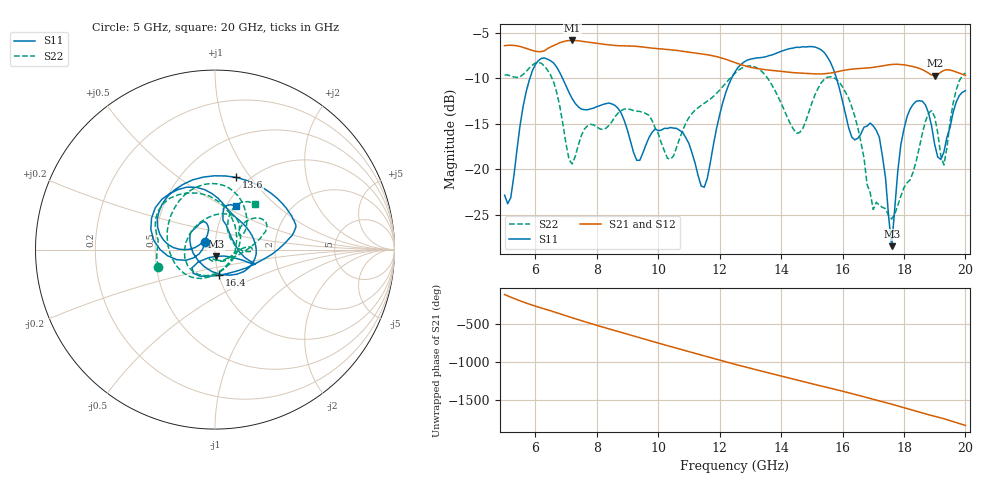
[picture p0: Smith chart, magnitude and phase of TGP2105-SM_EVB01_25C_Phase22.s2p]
! Date: Wednesday, June 05, 2013  1:50 PM
! Filename: C:\Data\Mike_Arnold\TGP2105-SM\Over_Temp\TGP2105-SM_EVB01_25C_Phase22.s2p
! Comments:
!^VDC(V):5.000
!^VDC(mA):0.102
!%Freq(GHz),S11(dB),S11(ang),S21(dB),S21(ang),S12(dB),S12(ang),S22(dB),S22(ang)
# GHz  S  DB  R  50
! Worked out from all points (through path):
!   151 points, 5 GHz to 20 GHz, reference 50 ohm
!   highest |S21| = -5.87 dB at 7.2 GHz (marker M1); lowest = -9.7 dB at 19 GHz (marker M2)
!   group delay of S21, straight-line fit = 307 ps
!   lowest |S11| = -28.4 dB at 17.6 GHz (marker M3), VSWR 1.08, Z = 50.5 - j3.79 ohm
!   |S11| at or under -10 dB: start of sweep to 5.825 GHz; 6.884 GHz to 12.39 GHz (5.506 GHz wide, 57.1 % of centre); 15.8 GHz to end of sweep
!   |S22| runs from -25.4 to -8.3 dB; largest |S21 - S12| = 0.0021
!   S11 on the Smith chart (normalised r, x): 5 GHz: 0.89, +0.08; 13.6 GHz: 0.88, +0.86; 16.4 GHz: 1.01, -0.29; 20 GHz: 1.10, +0.58
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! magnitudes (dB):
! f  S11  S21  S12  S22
! 5 GHz  -22.8  -6.4  -6.5  -9.6
! 6 GHz  -8.5  -7.0  -7.1  -8.3
! 7.2 GHz  -12.2  -5.9  -5.9  -19.4
! 7.5 GHz  -13.4  -5.9  -6.0  -16.3
! 8.6 GHz  -13.0  -6.4  -6.4  -14.2
! 9.3 GHz  -19.0  -6.5  -6.5  -13.6
! 10 GHz  -15.8  -6.8  -6.8  -16.1
! 10.4 GHz  -15.4  -6.9  -6.9  -18.9
! 11.5 GHz  -21.9  -7.4  -7.4  -12.7
! 12.5 GHz  -9.3  -8.3  -8.3  -9.5
! 13.6 GHz  -7.5  -9.1  -9.1  -10.2
! 14.5 GHz  -6.6  -9.4  -9.4  -16.0
! 15 GHz  -6.5  -9.5  -9.5  -12.7
! 16.4 GHz  -16.8  -9.0  -9.0  -14.2
! 17.1 GHz  -15.7  -8.8  -8.8  -23.6
! 17.5 GHz  -25.1  -8.5  -8.6  -25.1
! 17.6 GHz  -28.4  -8.5  -8.5  -25.4
! 17.9 GHz  -17.3  -8.5  -8.5  -22.9
! 18.2 GHz  -13.4  -8.7  -8.7  -21.1
! 19 GHz  -17.3  -9.7  -9.8  -14.2
! 19.3 GHz  -18.1  -9.1  -9.2  -19.5
! 20 GHz  -11.4  -9.7  -9.7  -9.4
